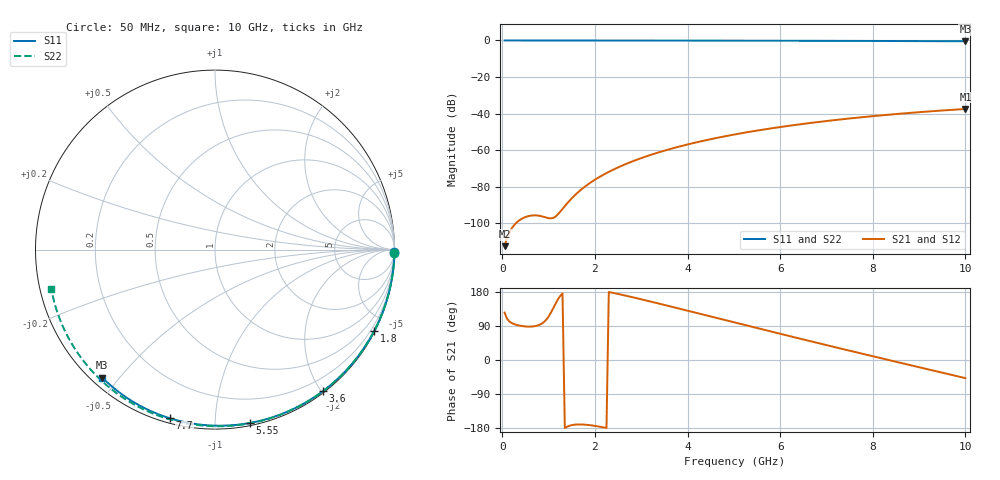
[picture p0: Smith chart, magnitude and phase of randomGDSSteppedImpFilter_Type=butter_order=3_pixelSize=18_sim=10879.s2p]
! freq	dB(S11)	phase(S11)	dB(S12)	phase(S12)
!  dB(S21)	phase(S21)	dB(S22)	phase(S22)
!S-par simulation data
#  GHz  S  DB  R 50
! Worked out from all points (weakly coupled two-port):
!   200 points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, 50 MHz to 10 GHz, reference 50 ohm
!   highest |S21| = -37.47 dB at 10 GHz (marker M1); lowest = -112.4 dB at 50 MHz (marker M2)
!   lowest |S11| = -0.4 dB at 10 GHz (marker M3), VSWR 38.97, Z = 1.54 - j22.6 ohm
!   |S11| at or under -10 dB: nowhere
!   |S22| runs from -0.6 to 0.0 dB; largest |S21 - S12| = 0
!   S11 on the Smith chart (normalised r, x): 50 MHz: open; 1.8 GHz: 0.04, -4.18; 3.6 GHz: 0.02, -2.02; 5.55 GHz: 0.02, -1.22; 7.7 GHz: 0.02, -0.77; 10 GHz: 0.03, -0.45
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0.05  -0.00 -0.8  -112.45 125.1  -112.45 125.1  -0.00 -1.0
0.45  -0.01 -6.8  -97.07 89.2  -97.07 89.2  -0.01 -8.7
0.85  -0.02 -12.8  -96.10 95.9  -96.10 95.9  -0.02 -16.3
1.3  -0.02 -19.5  -92.11 175.6  -92.11 175.6  -0.03 -24.8
1.75  -0.03 -26.2  -80.57 -170.3  -80.57 -170.3  -0.04 -33.2
1.8  -0.03 -26.9  -79.60 -170.8  -79.60 -170.8  -0.04 -34.1
1.95  -0.04 -29.1  -76.94 -172.9  -76.94 -172.9  -0.05 -36.9
2.1  -0.04 -31.3  -74.59 -175.9  -74.59 -175.9  -0.05 -39.6
2.3  -0.04 -34.2  -71.83 179.5  -71.83 179.5  -0.06 -43.3
2.5  -0.05 -37.1  -69.39 174.3  -69.39 174.3  -0.06 -46.9
2.9  -0.06 -42.8  -65.23 163.1  -65.23 163.1  -0.07 -54.0
3.4  -0.07 -49.9  -60.99 148.4  -60.99 148.4  -0.08 -62.8
3.6  -0.07 -52.7  -59.52 142.3  -59.52 142.3  -0.09 -66.3
4.3  -0.09 -62.2  -55.07 121.0  -55.07 121.0  -0.11 -78.1
5.05  -0.11 -72.2  -51.23 98.1  -51.23 98.1  -0.14 -90.4
5.55  -0.13 -78.6  -49.06 82.8  -49.06 82.8  -0.16 -98.4
6.1  -0.15 -85.6  -46.96 66.2  -46.96 66.2  -0.19 -107.0
6.7  -0.18 -93.0  -44.96 48.2  -44.96 48.2  -0.23 -116.3
7.7  -0.24 -105.0  -42.12 18.7  -42.12 18.7  -0.30 -131.4
8.35  -0.29 -112.6  -40.57 -0.3  -40.57 -0.3  -0.36 -141.1
9.2  -0.36 -122.3  -38.82 -24.9  -38.82 -24.9  -0.45 -154.0
10  -0.45 -131.4  -37.47 -47.9  -37.47 -47.9  -0.56 -166.4
